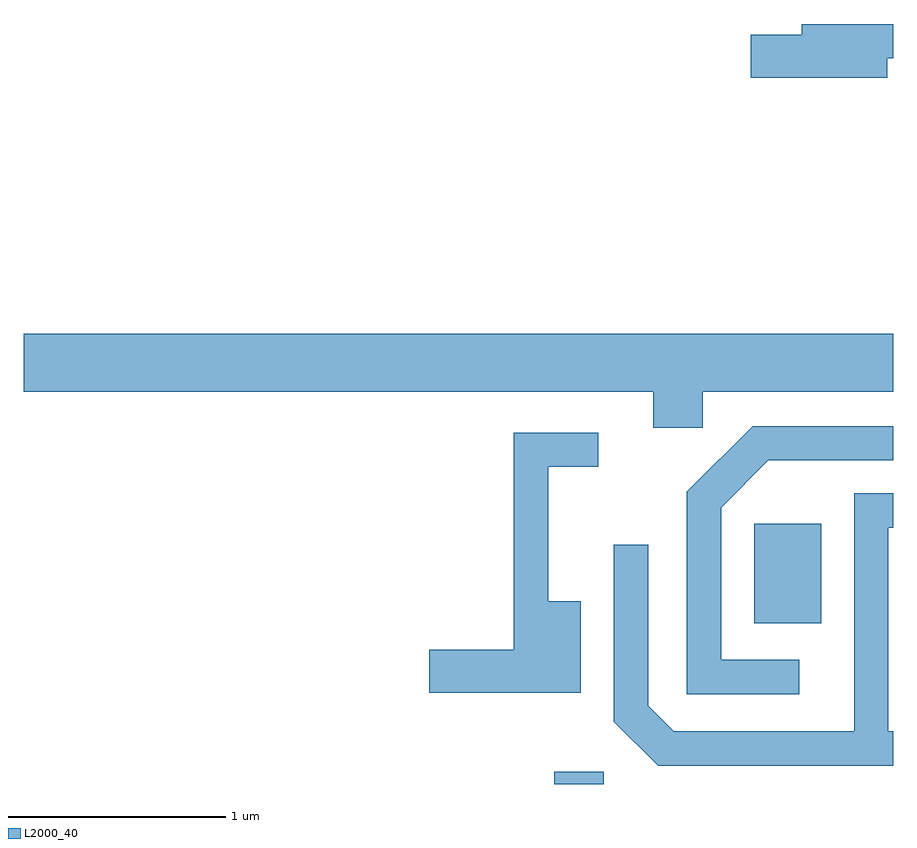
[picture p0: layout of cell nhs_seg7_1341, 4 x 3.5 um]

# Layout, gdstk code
import gdstk
lib = gdstk.Library(unit=1e-6, precision=1e-09)
def R(c, l, rs):  # rectangles x0, y0, x1, y1
    for r in rs: c.add(gdstk.rectangle(r[:2], r[2:], *l))
def P(c, l, *ps):  # polygons
    for p in ps: c.add(gdstk.Polygon(p, *l))
L2000_40 = (2000, 40)

nhs_seg7_1341 = lib.new_cell('nhs_seg7_1341')
R(nhs_seg7_1341, L2000_40, [(228.051,1750.252,228.279,1750.309), (228.971,1750.991,229.279,1751.449)])
P(nhs_seg7_1341, L2000_40, [(229.584,1753.591),(229.611,1753.591),(229.611,1753.749),(229.191,1753.749),(229.191,1753.699),(228.956,1753.699),(228.956,1753.501),(229.584,1753.501)],
  [(228.734,1752.056),(229.611,1752.056),(229.611,1752.324),(225.611,1752.324),(225.611,1752.056),(228.506,1752.056),(228.506,1751.891),(228.734,1751.891)],
  [(229.178,1750.824),(228.819,1750.824),(228.819,1751.524),(229.037,1751.741),(229.611,1751.741),(229.611,1751.899),(228.964,1751.899),(228.661,1751.597),(228.661,1750.666),(229.178,1750.666)],
  [(228.174,1751.094),(228.024,1751.094),(228.024,1751.711),(228.253,1751.711),(228.253,1751.869),(227.866,1751.869),(227.866,1750.869),(227.476,1750.869),(227.476,1750.671),(228.174,1750.671)],
  [(229.611,1750.494),(229.589,1750.494),(229.589,1751.431),(229.611,1751.431),(229.611,1751.589),(229.431,1751.589),(229.431,1750.494),(228.602,1750.494),(228.484,1750.612),(228.484,1751.353),(228.326,1751.353),(228.326,1750.539),(228.529,1750.336),(229.611,1750.336)])

lib.write_gds('nhs_seg7_1341.gds')
